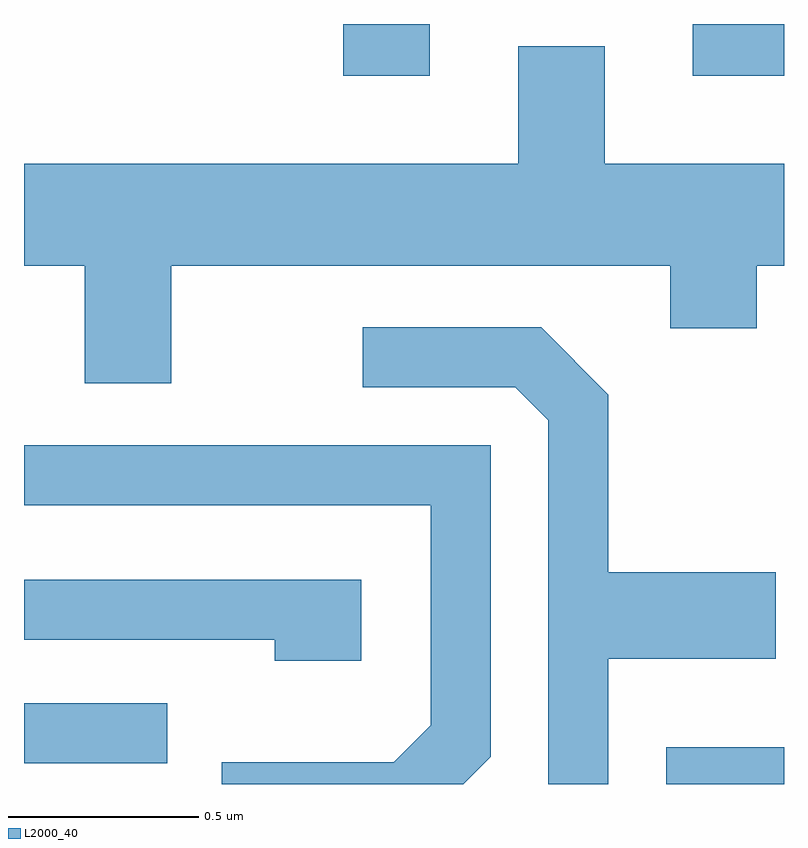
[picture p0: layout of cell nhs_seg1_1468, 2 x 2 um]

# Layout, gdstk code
import gdstk
lib = gdstk.Library(unit=1e-6, precision=1e-09)
def R(c, l, rs):  # rectangles x0, y0, x1, y1
    for r in rs: c.add(gdstk.rectangle(r[:2], r[2:], *l))
def P(c, l, *ps):  # polygons
    for p in ps: c.add(gdstk.Polygon(p, *l))
L2000_40 = (2000, 40)

nhs_seg1_1468 = lib.new_cell('nhs_seg1_1468')
R(nhs_seg1_1468, L2000_40, [(197.301,953.712,197.611,953.809), (195.611,953.766,195.988,953.924), (196.451,955.576,196.679,955.712), (197.371,955.576,197.611,955.712)])
P(nhs_seg1_1468, L2000_40, [(195.999,955.076),(197.311,955.076),(197.311,954.911),(197.539,954.911),(197.539,955.076),(197.611,955.076),(197.611,955.344),(197.139,955.344),(197.139,955.654),(196.911,955.654),(196.911,955.344),(195.611,955.344),(195.611,955.076),(195.771,955.076),(195.771,954.766),(195.999,954.766)],
  [(197.149,954.041),(197.589,954.041),(197.589,954.269),(197.149,954.269),(197.149,954.737),(196.972,954.914),(196.503,954.914),(196.503,954.756),(196.904,954.756),(196.991,954.669),(196.991,953.712),(197.149,953.712)],
  [(196.839,953.784),(196.839,954.604),(195.611,954.604),(195.611,954.446),(196.681,954.446),(196.681,953.867),(196.584,953.769),(196.131,953.769),(196.131,953.712),(196.767,953.712)],
  [(196.499,954.249),(195.611,954.249),(195.611,954.091),(196.271,954.091),(196.271,954.036),(196.499,954.036)])

lib.write_gds('nhs_seg1_1468.gds')
